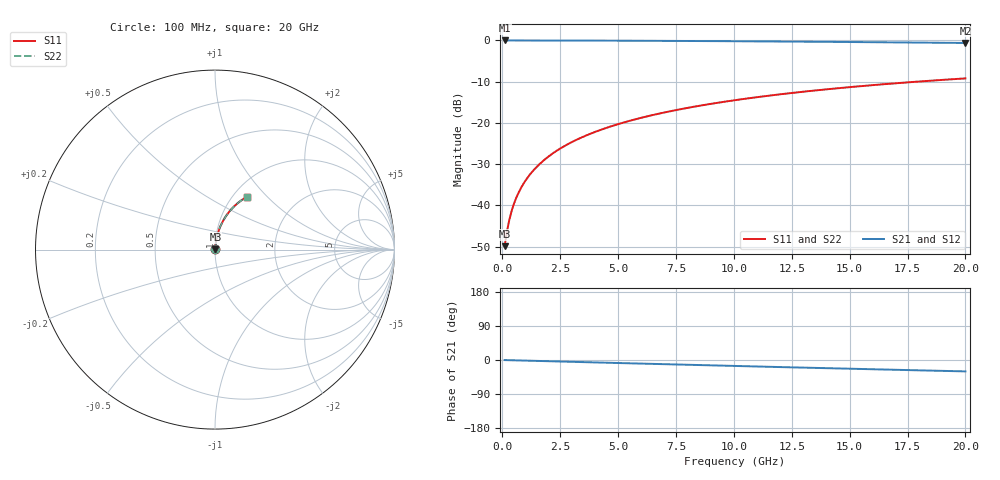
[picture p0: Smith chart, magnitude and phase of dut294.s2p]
! Touchstone file exported from HFSS 2026.1.0
!  File:  C:/ffzhzh/LocalFiles/Ansys_Project_Files/temp_train_TMRDL_294_1782985587_6248.aedt
!  Generated:  05:47:42 PM Jul  2, 2026
!  Design:  TMRDL
!  Project:  temp_train_TMRDL_294_1782985587_6248
! Variables:
!  h_bsmrdl = 2um
!  h_ox = 20um
!  h_rdl = 5um
!  h_sub = 80um
!  h_tmrdl = 3.22um
!  h_tsv = 80um
!  h_via = 3um
!  l_bsmrdl = 300um
!  l_sub = 760.66um
!  l_tmrdl = 360.66um
!  m_sub = 200um
!  pitch = 54.7um
!  r_tsv = 6um
!  s_tmrdl = 10um
!  w_bsmrdl = 18um
!  w_sub = 500um
!  w_tmrdl = 17.53um
!  x_tsv_center1 = 369.425um
!  x_tsv_center2 = 687.425um
!  x_tsv_center3 = 1065.615um
!  x_tsv_center4 = 1383.615um
!  x_tsv_center5 = 1761.805um
!  x_tsv_center6 = 2079.805um
# GHz S MA R 50.000000
! Terminal data exported
! Port[1] = TM_RDL1_1_T1
! Port[2] = TM_RDL1_1_T2
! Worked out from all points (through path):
!   200 points, 100 MHz to 20 GHz, reference 50 ohm
!   highest |S21| = -0.02 dB at 100 MHz (marker M1); lowest = -0.6 dB at 20 GHz (marker M2)
!   group delay of S21, straight-line fit = 4.18 ps
!   lowest |S11| = -49.9 dB at 100 MHz (marker M3), VSWR 1.01, Z = 50.2 + j0.206 ohm
!   |S11| at or under -10 dB: start of sweep to 17.94 GHz
!   |S22| runs from -49.9 to -9.2 dB; largest |S21 - S12| = 3e-15
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0.1  0.0032 39.9  0.9975 -0.2  0.9975 -0.2  0.0032 39.9
! Gamma 0 0 0 0
! Port Impedance 50 0 50 0
0.2  0.004801 58.2  0.9975 -0.3  0.9975 -0.3  0.004801 58.2
0.3  0.00662 66.6  0.9974 -0.5  0.9974 -0.5  0.006621 66.6
0.4  0.008496 71.1  0.9973 -0.7  0.9973 -0.7  0.008496 71.1
0.5  0.01039 74.0  0.9972 -0.8  0.9972 -0.8  0.01039 74.0
0.6  0.01229 76.0  0.9972 -1.0  0.9972 -1.0  0.01229 76.0
0.8  0.0161 78.5  0.997 -1.3  0.997 -1.3  0.0161 78.5
1.1  0.02184 80.5  0.9968 -1.8  0.9968 -1.8  0.02184 80.5
1.5  0.02953 81.7  0.9965 -2.4  0.9965 -2.4  0.02953 81.7
1.8  0.03531 82.1  0.9963 -2.9  0.9963 -2.9  0.03531 82.1
2.1  0.04109 82.2  0.996 -3.4  0.996 -3.4  0.04109 82.2
2.7  0.05265 82.1  0.9953 -4.3  0.9953 -4.3  0.05265 82.1
3.5  0.06799 81.5  0.9942 -5.6  0.9942 -5.6  0.06799 81.5
4.2  0.08134 80.7  0.993 -6.7  0.993 -6.7  0.08134 80.7
5  0.09648 79.7  0.9914 -8.0  0.9914 -8.0  0.09648 79.7
5.9  0.1133 78.5  0.9893 -9.4  0.9893 -9.4  0.1133 78.5
6.8  0.13 77.2  0.9869 -10.8  0.9869 -10.8  0.13 77.2
8.3  0.1573 75.1  0.9824 -13.1  0.9824 -13.1  0.1573 75.0
10.1  0.1893 72.4  0.9762 -15.8  0.9762 -15.8  0.1893 72.4
13.4  0.2452 67.7  0.9627 -20.7  0.9627 -20.7  0.2452 67.7
16.7  0.2976 63.1  0.9472 -25.5  0.9472 -25.5  0.2976 63.1
20  0.346 58.6  0.9302 -30.1  0.9302 -30.1  0.346 58.6
